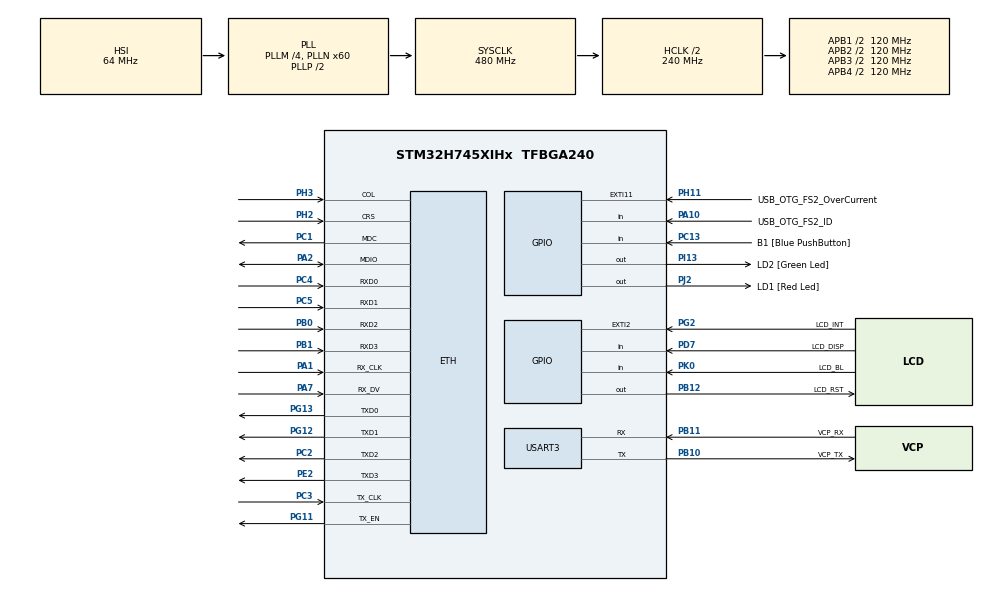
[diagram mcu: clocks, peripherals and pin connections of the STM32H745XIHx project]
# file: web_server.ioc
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CortexM4.IPs=FATFS_M4\:I,FREERTOS_M4\:I,IWDG2\:I,RCC,USB_DEVICE_M4\:I,USB_HOST_M4\:I,WWDG2\:I,DMA,BDMA,MDMA,NVIC2\:I,DEBUG,PDM2PCM_M4\:I,PWR,RESMGR_UTILITY,SYS_M4\:I,CORTEX_M4\:I,OPENAMP_M4\:I,VREFBUF,GPIO
CortexM7.IPs=FATFS_M7\:I,FREERTOS_M7\:I,IWDG1\:I,RCC\:I,USB_DEVICE_M7\:I,USB_HOST_M7\:I,WWDG1\:I,DMA\:I,BDMA\:I,MDMA\:I,NVIC1\:I,CORTEX_M7\:I,DEBUG\:I,PDM2PCM_M7\:I,PWR\:I,RESMGR_UTILITY\:I,SYS\:I,OPENAMP_M7\:I,VREFBUF\:I,GPIO\:I,USART3\:I,ETH\:I,RNG\:I,TIM6\:I
CortexM7.Pins=PJ2
ETH.MediaInterface=HAL_ETH_MII_MODE
FREERTOS_M7.Tasks01=defaultTask,0,256,StartDefaultTask,Default,NULL,Dynamic,NULL,NULL;Blinker,-2,128,StartTask02,Default,NULL,Dynamic,NULL,NULL
FREERTOS_M7.configTOTAL_HEAP_SIZE=65536
FREERTOS_M7.configUSE_NEWLIB_REENTRANT=1
Mcu.Family=STM32H7
Mcu.Name=STM32H745XIHx
Mcu.Package=TFBGA240
NVIC1.ETH_IRQn=true\:5\:0\:false\:false\:false\:true\:true\:true\:true
NVIC1.PriorityGroup=NVIC_PRIORITYGROUP_4
NVIC1.TIM6_DAC_IRQn=true\:15\:0\:false\:false\:true\:false\:false\:true\:true
NVIC1.TimeBase=TIM6_DAC_IRQn
NVIC1.TimeBaseIP=TIM6
NVIC2.PriorityGroup=NVIC_PRIORITYGROUP_4
PA1.GPIO_Mode=GPIO_MODE_AF_PP
PA1.GPIO_PuPd=GPIO_NOPULL
PA1.GPIO_Speed=GPIO_SPEED_FREQ_VERY_HIGH
PA1.Mode=MII
PA1.PinAttribute=CortexM7
PA1.Signal=ETH_RX_CLK
PA10.GPIO_Label=USB_OTG_FS2_ID
PA10.PinAttribute=Free
PA10.Signal=GPIO_Input
PA11.GPIO_Label=USB_OTG_FS2_N
PA11.PinAttribute=CortexM4
PA11.Signal=USB_OTG_FS_DM
PA12.GPIO_Label=USB_OTG_FS2_P
PA12.PinAttribute=CortexM4
PA12.Signal=USB_OTG_FS_DP
PA2.GPIO_Mode=GPIO_MODE_AF_PP
PA2.GPIO_PuPd=GPIO_NOPULL
PA2.GPIO_Speed=GPIO_SPEED_FREQ_VERY_HIGH
PA2.Mode=MII
PA2.PinAttribute=CortexM7
PA2.Signal=ETH_MDIO
PA7.GPIO_Mode=GPIO_MODE_AF_PP
PA7.GPIO_PuPd=GPIO_NOPULL
PA7.GPIO_Speed=GPIO_SPEED_FREQ_VERY_HIGH
PA7.Mode=MII
PA7.PinAttribute=CortexM7
PA7.Signal=ETH_RX_DV
PA9.GPIO_Label=VBUS_FS2
PA9.PinAttribute=CortexM4
PA9.Signal=USB_OTG_FS_VBUS
PB0.GPIO_Mode=GPIO_MODE_AF_PP
PB0.GPIO_PuPd=GPIO_NOPULL
PB0.GPIO_Speed=GPIO_SPEED_FREQ_VERY_HIGH
PB0.Mode=MII
PB0.PinAttribute=CortexM7
PB0.Signal=ETH_RXD2
PB1.GPIO_Mode=GPIO_MODE_AF_PP
PB1.GPIO_PuPd=GPIO_NOPULL
PB1.GPIO_Speed=GPIO_SPEED_FREQ_VERY_HIGH
PB1.Mode=MII
PB1.PinAttribute=CortexM7
PB1.Signal=ETH_RXD3
PB10.GPIO_Label=VCP_TX
PB10.Mode=Asynchronous
PB10.PinAttribute=CortexM7
PB10.Signal=USART3_TX
PB11.GPIO_Label=VCP_RX
PB11.Mode=Asynchronous
PB11.PinAttribute=CortexM7
PB11.Signal=USART3_RX
PB12.GPIO_Label=LCD_RST
PB12.PinAttribute=Free
PB12.Signal=GPIO_Output
PB13.GPIO_Label=FDCAN2_TX
PB13.PinAttribute=CortexM4
PB13.Signal=FDCAN2_TX
PB5.GPIO_Label=FDCAN2_RX
PB5.PinAttribute=CortexM4
PB5.Signal=FDCAN2_RX
PB6.PinAttribute=CortexM4
PB6.Signal=QUADSPI_BK1_NCS
PB8.GPIO_Label=SDIO1_D4
PB8.PinAttribute=CortexM4
PB8.Signal=SDMMC1_D4
PB9.GPIO_Label=SDIO1_D5
PB9.PinAttribute=CortexM4
PB9.Signal=SDMMC1_D5
PC1.GPIO_Mode=GPIO_MODE_AF_PP
PC1.GPIO_PuPd=GPIO_NOPULL
PC1.GPIO_Speed=GPIO_SPEED_FREQ_VERY_HIGH
PC1.Mode=MII
PC1.PinAttribute=CortexM7
PC1.Signal=ETH_MDC
PC10.GPIO_Label=SDIO1_D2
PC10.PinAttribute=CortexM4
PC10.Signal=SDMMC1_D2
PC11.GPIO_Label=SDIO1_D3
PC11.PinAttribute=CortexM4
PC11.Signal=SDMMC1_D3
PC12.GPIO_Label=SDIO1_CK
PC12.PinAttribute=CortexM4
PC12.Signal=SDMMC1_CK
PC13.GPIO_Label=B1 [Blue PushButton]
PC13.PinAttribute=Free
PC13.Signal=GPIO_Input
PC14-OSC32_IN\ (OSC32_IN).GPIO_Label=OSC32_IN
PC14-OSC32_IN\ (OSC32_IN).Mode=LSE-External-Clock-Source
PC14-OSC32_IN\ (OSC32_IN).PinAttribute=CortexM7
PC14-OSC32_IN\ (OSC32_IN).Signal=RCC_OSC32_IN
PC15-OSC32_OUT\ (OSC32_OUT).GPIO_Label=OSC32_OUT
PC15-OSC32_OUT\ (OSC32_OUT).PinAttribute=CortexM7
PC15-OSC32_OUT\ (OSC32_OUT).Signal=RCC_OSC32_OUT
PC2.GPIO_Mode=GPIO_MODE_AF_PP
PC2.GPIO_PuPd=GPIO_NOPULL
PC2.GPIO_Speed=GPIO_SPEED_FREQ_VERY_HIGH
PC2.Mode=MII
PC2.PinAttribute=CortexM7
PC2.Signal=ETH_TXD2
PC3.GPIO_Mode=GPIO_MODE_AF_PP
PC3.GPIO_PuPd=GPIO_NOPULL
PC3.GPIO_Speed=GPIO_SPEED_FREQ_VERY_HIGH
PC3.Mode=MII
PC3.PinAttribute=CortexM7
PC3.Signal=ETH_TX_CLK
PC4.GPIO_Mode=GPIO_MODE_AF_PP
PC4.GPIO_PuPd=GPIO_NOPULL
PC4.GPIO_Speed=GPIO_SPEED_FREQ_VERY_HIGH
PC4.Mode=MII
PC4.PinAttribute=CortexM7
PC4.Signal=ETH_RXD0
PC5.GPIO_Mode=GPIO_MODE_AF_PP
PC5.GPIO_PuPd=GPIO_NOPULL
PC5.GPIO_Speed=GPIO_SPEED_FREQ_VERY_HIGH
PC5.Mode=MII
PC5.PinAttribute=CortexM7
PC5.Signal=ETH_RXD1
PC6.GPIO_Label=SDIO1_D6
PC6.PinAttribute=CortexM4
PC6.Signal=SDMMC1_D6
PC7.GPIO_Label=SDIO1_D7
PC7.PinAttribute=CortexM4
PC7.Signal=SDMMC1_D7
PC8.GPIO_Label=SDIO1_D0
PC8.PinAttribute=CortexM4
PC8.Signal=SDMMC1_D0
PC9.GPIO_Label=SDIO1_D1
PC9.PinAttribute=CortexM4
PC9.Signal=SDMMC1_D1
PD0.PinAttribute=CortexM4
PD0.Signal=FMC_D2_DA2
PD1.PinAttribute=CortexM4
PD1.Signal=FMC_D3_DA3
PD10.PinAttribute=CortexM4
PD10.Signal=FMC_D15_DA15
PD11.PinAttribute=CortexM4
PD11.Signal=QUADSPI_BK1_IO0
PD14.PinAttribute=CortexM4
PD14.Signal=FMC_D0_DA0
PD15.PinAttribute=CortexM4
PD15.Signal=FMC_D1_DA1
PD2.GPIO_Label=SDIO1_CMD
PD2.PinAttribute=CortexM4
PD2.Signal=SDMMC1_CMD
PD7.GPIO_Label=LCD_DISP
PD7.PinAttribute=Free
PD7.Signal=GPIO_Input
PD8.PinAttribute=CortexM4
PD8.Signal=FMC_D13_DA13
PD9.PinAttribute=CortexM4
PD9.Signal=FMC_D14_DA14
PE0.PinAttribute=CortexM4
PE0.Signal=FMC_NBL0
PE1.PinAttribute=CortexM4
PE1.Signal=FMC_NBL1
PE10.PinAttribute=CortexM4
PE10.Signal=FMC_D7_DA7
PE11.PinAttribute=CortexM4
PE11.Signal=FMC_D8_DA8
PE12.PinAttribute=CortexM4
PE12.Signal=FMC_D9_DA9
PE13.PinAttribute=CortexM4
PE13.Signal=FMC_D10_DA10
PE14.PinAttribute=CortexM4
PE14.Signal=FMC_D11_DA11
PE15.PinAttribute=CortexM4
PE15.Signal=FMC_D12_DA12
PE2.GPIO_Mode=GPIO_MODE_AF_PP
PE2.GPIO_PuPd=GPIO_NOPULL
PE2.GPIO_Speed=GPIO_SPEED_FREQ_VERY_HIGH
PE2.Mode=MII
PE2.PinAttribute=CortexM7
PE2.Signal=ETH_TXD3
PE4.PinAttribute=CortexM4
PE4.Signal=SAI4_D2
PE5.PinAttribute=CortexM4
PE5.Signal=SAI4_CK2
PE7.PinAttribute=CortexM4
PE7.Signal=FMC_D4_DA4
PE8.PinAttribute=CortexM4
PE8.Signal=FMC_D5_DA5
PE9.PinAttribute=CortexM4
PE9.Signal=FMC_D6_DA6
PF0.PinAttribute=CortexM4
PF0.Signal=FMC_A0
PF1.PinAttribute=CortexM4
PF1.Signal=FMC_A1
PF10.PinAttribute=CortexM4
PF10.Signal=QUADSPI_CLK
PF11.PinAttribute=CortexM4
PF11.Signal=FMC_SDNRAS
PF12.PinAttribute=CortexM4
PF12.Signal=FMC_A6
PF13.PinAttribute=CortexM4
PF13.Signal=FMC_A7
PF14.PinAttribute=CortexM4
PF14.Signal=FMC_A8
PF15.PinAttribute=CortexM4
PF15.Signal=FMC_A9
PF2.PinAttribute=CortexM4
PF2.Signal=FMC_A2
PF3.PinAttribute=CortexM4
PF3.Signal=FMC_A3
PF4.PinAttribute=CortexM4
PF4.Signal=FMC_A4
PF5.PinAttribute=CortexM4
PF5.Signal=FMC_A5
PF6.PinAttribute=CortexM4
PF6.Signal=QUADSPI_BK1_IO3
PF7.PinAttribute=CortexM4
PF7.Signal=QUADSPI_BK1_IO2
PF9.PinAttribute=CortexM4
PF9.Signal=QUADSPI_BK1_IO1
PG0.PinAttribute=CortexM4
PG0.Signal=FMC_A10
PG1.PinAttribute=CortexM4
PG1.Signal=FMC_A11
PG10.PinAttribute=CortexM4
PG10.Signal=SAI2_SD_B
PG11.GPIO_Mode=GPIO_MODE_AF_PP
PG11.GPIO_PuPd=GPIO_NOPULL
PG11.GPIO_Speed=GPIO_SPEED_FREQ_VERY_HIGH
PG11.Mode=MII
PG11.PinAttribute=CortexM7
PG11.Signal=ETH_TX_EN
PG12.GPIO_Mode=GPIO_MODE_AF_PP
PG12.GPIO_PuPd=GPIO_NOPULL
PG12.GPIO_Speed=GPIO_SPEED_FREQ_VERY_HIGH
PG12.Mode=MII
PG12.PinAttribute=CortexM7
PG12.Signal=ETH_TXD1
PG13.GPIO_Mode=GPIO_MODE_AF_PP
PG13.GPIO_PuPd=GPIO_NOPULL
PG13.GPIO_Speed=GPIO_SPEED_FREQ_VERY_HIGH
PG13.Mode=MII
PG13.PinAttribute=CortexM7
PG13.Signal=ETH_TXD0
PG15.PinAttribute=CortexM4
PG15.Signal=FMC_SDNCAS
PG2.GPIO_Label=LCD_INT
PG2.PinAttribute=Free
PG2.Signal=GPXTI2
PG4.PinAttribute=CortexM4
PG4.Signal=FMC_A14_BA0
PG5.PinAttribute=CortexM4
PG5.Signal=FMC_A15_BA1
PG8.PinAttribute=CortexM4
PG8.Signal=FMC_SDCLK
PH0-OSC_IN\ (PH0).GPIO_Label=OSC_IN
PH0-OSC_IN\ (PH0).Mode=HSE-External-Clock-Source
PH0-OSC_IN\ (PH0).PinAttribute=CortexM7
PH0-OSC_IN\ (PH0).Signal=RCC_OSC_IN
PH1-OSC_OUT\ (PH1).GPIO_Label=OSC_OUT
PH1-OSC_OUT\ (PH1).PinAttribute=CortexM7
PH1-OSC_OUT\ (PH1).Signal=RCC_OSC_OUT
PH11.GPIO_Label=USB_OTG_FS2_OverCurrent
PH11.PinAttribute=Free
PH11.Signal=GPXTI11
PH13.GPIO_Label=FDCAN1_TX
PH13.PinAttribute=CortexM4
PH13.Signal=FDCAN1_TX
PH14.GPIO_Label=FDCAN2_RX
PH14.PinAttribute=CortexM4
PH14.Signal=FDCAN1_RX
PH2.GPIO_Mode=GPIO_MODE_AF_PP
PH2.GPIO_PuPd=GPIO_NOPULL
PH2.GPIO_Speed=GPIO_SPEED_FREQ_VERY_HIGH
PH2.Mode=MII
PH2.PinAttribute=CortexM7
PH2.Signal=ETH_CRS
PH3.GPIO_Mode=GPIO_MODE_AF_PP
PH3.GPIO_PuPd=GPIO_NOPULL
PH3.GPIO_Speed=GPIO_SPEED_FREQ_VERY_HIGH
PH3.Mode=MII
PH3.PinAttribute=CortexM7
PH3.Signal=ETH_COL
PH5.PinAttribute=CortexM4
PH5.Signal=FMC_SDNWE
PH6.PinAttribute=CortexM4
PH6.Signal=FMC_SDNE1
PH7.PinAttribute=CortexM4
PH7.Signal=FMC_SDCKE1
PH9.PinAttribute=CortexM4
PH9.Signal=LTDC_R3
PI0.PinAttribute=CortexM4
PI0.Signal=LTDC_G5
PI1.PinAttribute=CortexM4
PI1.Signal=LTDC_G6
PI10.GPIO_Label=MII_RX_ER
PI10.PinAttribute=CortexM7
PI10.Signal=ETH_RX_ER
PI12.PinAttribute=CortexM4
PI12.Signal=LTDC_HSYNC
PI13.GPIO_Label=LD2 [Green Led]
PI13.PinAttribute=Free
PI13.Signal=GPIO_Output
PI14.PinAttribute=CortexM4
PI14.Signal=LTDC_CLK
PI15.PinAttribute=CortexM4
PI15.Signal=LTDC_R0
PI4.PinAttribute=CortexM4
PI4.Signal=SAI2_MCLK_A
PI5.PinAttribute=CortexM4
PI5.Signal=SAI2_SCK_A
PI6.PinAttribute=CortexM4
PI6.Signal=SAI2_SD_A
PI7.PinAttribute=CortexM4
PI7.Signal=SAI2_FS_A
PI9.PinAttribute=CortexM4
PI9.Signal=LTDC_VSYNC
PJ0.PinAttribute=CortexM4
PJ0.Signal=LTDC_R1
PJ1.PinAttribute=CortexM4
PJ1.Signal=LTDC_R2
PJ10.PinAttribute=CortexM4
PJ10.Signal=LTDC_G3
PJ11.PinAttribute=CortexM4
PJ11.Signal=LTDC_G4
PJ12.PinAttribute=CortexM4
PJ12.Signal=LTDC_B0
PJ13.PinAttribute=CortexM4
PJ13.Signal=LTDC_B1
PJ14.PinAttribute=CortexM4
PJ14.Signal=LTDC_B2
PJ15.GPIO_Label=LCD_DISP
PJ15.PinAttribute=CortexM4
PJ15.Signal=LTDC_B3
PJ2.GPIO_Label=LD1 [Red Led]
PJ2.PinAttribute=CortexM7
PJ2.Signal=GPIO_Output
PJ3.PinAttribute=CortexM4
PJ3.Signal=LTDC_R4
PJ4.PinAttribute=CortexM4
PJ4.Signal=LTDC_R5
PJ5.PinAttribute=CortexM4
PJ5.Signal=LTDC_R6
PJ6.PinAttribute=CortexM4
PJ6.Signal=LTDC_R7
PJ7.PinAttribute=CortexM4
PJ7.Signal=LTDC_G0
PJ8.PinAttribute=CortexM4
PJ8.Signal=LTDC_G1
PJ9.PinAttribute=CortexM4
PJ9.Signal=LTDC_G2
PK0.GPIO_Label=LCD_BL
PK0.PinAttribute=Free
PK0.Signal=GPIO_Input
PK2.PinAttribute=CortexM4
PK2.Signal=LTDC_G7
PK3.PinAttribute=CortexM4
PK3.Signal=LTDC_B4
PK4.PinAttribute=CortexM4
PK4.Signal=LTDC_B5
PK5.PinAttribute=CortexM4
PK5.Signal=LTDC_B6
PK6.PinAttribute=CortexM4
PK6.Signal=LTDC_B7
PK7.PinAttribute=CortexM4
PK7.Signal=LTDC_DE
ProjectManager.HeapSize=M4-0x200,M7-0x200
ProjectManager.StackSize=M4-0x400,M7-0x400
ProjectManager.TargetToolchain=STM32CubeIDE
RCC.ADCFreq_Value=129000000
RCC.APB1Freq_Value=120000000
RCC.APB2Freq_Value=120000000
RCC.APB3Freq_Value=120000000
RCC.APB4Freq_Value=120000000
RCC.CortexFreq_Value=480000000
RCC.D1PPRE=RCC_APB3_DIV2
RCC.D2PPRE1=RCC_APB1_DIV2
RCC.D2PPRE2=RCC_APB2_DIV2
RCC.D3PPRE=RCC_APB4_DIV2
RCC.DIVM1=4
RCC.DIVN1=60
RCC.DIVN3=192
RCC.DIVQ1=4
RCC.DIVR1=4
RCC.HCLKFreq_Value=240000000
RCC.HPRE=RCC_HCLK_DIV2
RCC.PLL2FRACN=0
RCC.PLL3FRACN=0
RCC.PLLFRACN=0
RCC.PWR_Regulator_Voltage_Scale=PWR_REGULATOR_VOLTAGE_SCALE0
RCC.SYSCLKFreq_VALUE=480000000
RCC.SYSCLKSource=RCC_SYSCLKSOURCE_PLLCLK
RCC.SupplySource=PWR_LDO_SUPPLY
RCC.USBFreq_Value=240000000
SH.FMC_A0.0=FMC_A0
SH.FMC_A1.0=FMC_A1
SH.FMC_A10.0=FMC_A10
SH.FMC_A11.0=FMC_A11
SH.FMC_A14_BA0.0=FMC_BA0
SH.FMC_A15_BA1.0=FMC_BA1
SH.FMC_A2.0=FMC_A2
SH.FMC_A3.0=FMC_A3
SH.FMC_A4.0=FMC_A4
SH.FMC_A5.0=FMC_A5
SH.FMC_A6.0=FMC_A6
SH.FMC_A7.0=FMC_A7
SH.FMC_A8.0=FMC_A8
SH.FMC_A9.0=FMC_A9
SH.FMC_D0_DA0.0=FMC_D0
SH.FMC_D10_DA10.0=FMC_D10
SH.FMC_D11_DA11.0=FMC_D11
SH.FMC_D12_DA12.0=FMC_D12
SH.FMC_D13_DA13.0=FMC_D13
SH.FMC_D14_DA14.0=FMC_D14
SH.FMC_D15_DA15.0=FMC_D15
SH.FMC_D1_DA1.0=FMC_D1
SH.FMC_D2_DA2.0=FMC_D2
SH.FMC_D3_DA3.0=FMC_D3
SH.FMC_D4_DA4.0=FMC_D4
SH.FMC_D5_DA5.0=FMC_D5
SH.FMC_D6_DA6.0=FMC_D6
SH.FMC_D7_DA7.0=FMC_D7
SH.FMC_D8_DA8.0=FMC_D8
SH.FMC_D9_DA9.0=FMC_D9
SH.FMC_NBL0.0=FMC_NBL0
SH.FMC_NBL1.0=FMC_NBL1
SH.FMC_SDCLK.0=FMC_SDCLK
SH.FMC_SDNCAS.0=FMC_SDNCAS
SH.FMC_SDNRAS.0=FMC_SDNRAS
SH.FMC_SDNWE.0=FMC_SDNWE
USART3.VirtualMode-Asynchronous=VM_ASYNC
VP_FREERTOS_M7_VS_CMSIS_V1.Mode=CMSIS_V1
VP_RNG_VS_RNG.Mode=RNG_Activate
VP_SYS_M4_VS_Systick.Mode=SysTick
VP_SYS_VS_tim6.Mode=TIM6
board=STM32H745I-DISCO

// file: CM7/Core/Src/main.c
/* USER CODE BEGIN Header */
/**
 ******************************************************************************
 * @file           : main.c
 * @brief          : Main program body
 ******************************************************************************
 * @attention
 *
 * Copyright (c) 2024 STMicroelectronics.
 * All rights reserved.
 *
 * This software is licensed under terms that can be found in the LICENSE file
 * in the root directory of this software component.
 * If no LICENSE file comes with this software, it is provided AS-IS.
 *
 ******************************************************************************
 */
/* USER CODE END Header */
#include "main.h"
#include "string.h"
#include "cmsis_os.h"

/* USER CODE BEGIN Includes */
uint64_t mg_millis(void) {
	return HAL_GetTick();
}

#include "mongoose.h"
/* USER CODE END Includes */

/* USER CODE BEGIN PD */

#ifndef HSEM_ID_0
#define HSEM_ID_0 (0U) /* HW semaphore 0*/
#endif

/* USER CODE END PD */

#if defined ( __ICCARM__ ) /*!< IAR Compiler */
#pragma location=0x30000000
ETH_DMADescTypeDef  DMARxDscrTab[ETH_RX_DESC_CNT]; /* Ethernet Rx DMA Descriptors */
#pragma location=0x30000200
ETH_DMADescTypeDef  DMATxDscrTab[ETH_TX_DESC_CNT]; /* Ethernet Tx DMA Descriptors */

#elif defined ( __CC_ARM )  /* MDK ARM Compiler */

__attribute__((at(0x30000000))) ETH_DMADescTypeDef  DMARxDscrTab[ETH_RX_DESC_CNT]; /* Ethernet Rx DMA Descriptors */
__attribute__((at(0x30000200))) ETH_DMADescTypeDef  DMATxDscrTab[ETH_TX_DESC_CNT]; /* Ethernet Tx DMA Descriptors */

#elif defined ( __GNUC__ ) /* GNU Compiler */

ETH_DMADescTypeDef DMARxDscrTab[ETH_RX_DESC_CNT] __attribute__((section(".RxDecripSection"))); /* Ethernet Rx DMA Descriptors */
ETH_DMADescTypeDef DMATxDscrTab[ETH_TX_DESC_CNT] __attribute__((section(".TxDecripSection")));   /* Ethernet Tx DMA Descriptors */
#endif

ETH_TxPacketConfig TxConfig;

ETH_HandleTypeDef heth;

RNG_HandleTypeDef hrng;

UART_HandleTypeDef huart3;

osThreadId defaultTaskHandle;
osThreadId BlinkerHandle;

void SystemClock_Config(void);
static void MX_GPIO_Init(void);
static void MX_USART3_UART_Init(void);
static void MX_ETH_Init(void);
static void MX_RNG_Init(void);
void StartDefaultTask(void const * argument);
void StartTask02(void const * argument);

/* USER CODE BEGIN 0 */

// Connection event handler function
static void fn(struct mg_connection *c, int ev, void *ev_data) {
  if (ev == MG_EV_HTTP_MSG) {  // New HTTP request received
    struct mg_http_message *hm = (struct mg_http_message *) ev_data;  // Parsed HTTP request
    if (mg_match(hm->uri, mg_str("/api/hello"), NULL)) {              // REST API call?
      mg_http_reply(c, 200, "", "{%m:%d}\n", MG_ESC("status"), 1);    // Yes. Respond JSON
    } else {
      struct mg_http_serve_opts opts = {.root_dir = "."};  // For all other URLs,
      mg_http_serve_dir(c, hm, &opts);                     // Serve static files
    }
  }
}

static void run_mongoose(void) {
	struct mg_mgr mgr;  // Mongoose event manager. Holds all connections
	mg_mgr_init(&mgr);  // Initialise event manager
	mg_log_set(MG_LL_VERBOSE);

	int8_t mac_addr[6] = { 2, 3, 4, 5, 6, 7 };

	struct mg_tcpip_driver_stm32h_data driver_data = { .mdc_cr = 4 };
	struct mg_tcpip_if mif;
	memcpy(mif.mac, mac_addr, sizeof(mif.mac)); // Copy MAC address into the structure
	mif.ip = mg_htonl(MG_U32(192, 168, 1, 2));
	mif.mask = mg_htonl(MG_U32(255, 255, 255, 0));
	mif.gw = mg_htonl(MG_U32(192, 168, 1, 1));
	mif.driver = &mg_tcpip_driver_stm32h;
	mif.driver_data = &driver_data;

	mg_tcpip_init(&mgr, &mif);

	mg_http_listen(&mgr, "http://0.0.0.0:80", fn, NULL);  // Setup listener
	for (;;) {
		mg_mgr_poll(&mgr, 1000);  // Infinite event loop
	}
}

/* USER CODE END 0 */

int main(void)
{

/* USER CODE BEGIN Boot_Mode_Sequence_0 */
	int32_t timeout;
/* USER CODE END Boot_Mode_Sequence_0 */

/* USER CODE BEGIN Boot_Mode_Sequence_1 */
	/* Wait until CPU2 boots and enters in stop mode or timeout*/
	timeout = 0xFFFF;
	while ((__HAL_RCC_GET_FLAG(RCC_FLAG_D2CKRDY) != RESET))
		; // removed timeout error

/* USER CODE END Boot_Mode_Sequence_1 */
  /* MCU Configuration--------------------------------------------------------*/

  /* Reset of all peripherals, Initializes the Flash interface and the Systick. */
  HAL_Init();

  /* Configure the system clock */
  SystemClock_Config();
/* USER CODE BEGIN Boot_Mode_Sequence_2 */
	/* When system initialization is finished, Cortex-M7 will release Cortex-M4 by means of
	 HSEM notification */
	/*HW semaphore Clock enable*/
	__HAL_RCC_HSEM_CLK_ENABLE();
	/*Take HSEM */
	HAL_HSEM_FastTake(HSEM_ID_0);
	/*Release HSEM in order to notify the CPU2(CM4)*/
	HAL_HSEM_Release(HSEM_ID_0, 0);
	/* wait until CPU2 wakes up from stop mode */
	timeout = 0xFFFF;
	while ((__HAL_RCC_GET_FLAG(RCC_FLAG_D2CKRDY) == RESET) && (timeout-- > 0))
		;
	if (timeout < 0) {
		Error_Handler();
	}
/* USER CODE END Boot_Mode_Sequence_2 */

  /* Initialize all configured peripherals */
  MX_GPIO_Init();
  MX_USART3_UART_Init();
  MX_ETH_Init();
  MX_RNG_Init();
  /* USER CODE BEGIN 2 */

  NVIC_EnableIRQ(ETH_IRQn);

  run_mongoose();

  while(1) {
	  printf("Tick: %lu\r\n", HAL_GetTick());
	  HAL_Delay(500);
  }

  /* USER CODE END 2 */

  /* Create the thread(s) */
  /* definition and creation of defaultTask */
  osThreadDef(defaultTask, StartDefaultTask, osPriorityNormal, 0, 256);
  defaultTaskHandle = osThreadCreate(osThread(defaultTask), NULL);

  /* definition and creation of Blinker */
  osThreadDef(Blinker, StartTask02, osPriorityLow, 0, 128);
  BlinkerHandle = osThreadCreate(osThread(Blinker), NULL);

  /* Start scheduler */
  osKernelStart();

  /* We should never get here as control is now taken by the scheduler */

  /* Infinite loop */
	while (1) {

    /* USER CODE BEGIN 3 */

		HAL_GPIO_TogglePin(LD1_GPIO_Port, LD1_Pin);
		HAL_Delay(500);

		/* Send message over USART3 */
		printf("Hello USART3!\r\n");
	}
  /* USER CODE END 3 */
}

void SystemClock_Config(void)
{
  RCC_OscInitTypeDef RCC_OscInitStruct = {0};
  RCC_ClkInitTypeDef RCC_ClkInitStruct = {0};

  /** Supply configuration update enable
  */
  HAL_PWREx_ConfigSupply(PWR_LDO_SUPPLY);

  /** Configure the main internal regulator output voltage
  */
  __HAL_PWR_VOLTAGESCALING_CONFIG(PWR_REGULATOR_VOLTAGE_SCALE1);

  while(!__HAL_PWR_GET_FLAG(PWR_FLAG_VOSRDY)) {}

  __HAL_RCC_SYSCFG_CLK_ENABLE();
  __HAL_PWR_VOLTAGESCALING_CONFIG(PWR_REGULATOR_VOLTAGE_SCALE0);

  while(!__HAL_PWR_GET_FLAG(PWR_FLAG_VOSRDY)) {}

  /** Initializes the RCC Oscillators according to the specified parameters
  * in the RCC_OscInitTypeDef structure.
  */
  RCC_OscInitStruct.OscillatorType = RCC_OSCILLATORTYPE_HSI48|RCC_OSCILLATORTYPE_HSI;
  RCC_OscInitStruct.HSIState = RCC_HSI_DIV1;
  RCC_OscInitStruct.HSICalibrationValue = RCC_HSICALIBRATION_DEFAULT;
  RCC_OscInitStruct.HSI48State = RCC_HSI48_ON;
  RCC_OscInitStruct.PLL.PLLState = RCC_PLL_ON;
  RCC_OscInitStruct.PLL.PLLSource = RCC_PLLSOURCE_HSI;
  RCC_OscInitStruct.PLL.PLLM = 4;
  RCC_OscInitStruct.PLL.PLLN = 60;
  RCC_OscInitStruct.PLL.PLLP = 2;
  RCC_OscInitStruct.PLL.PLLQ = 4;
  RCC_OscInitStruct.PLL.PLLR = 4;
  RCC_OscInitStruct.PLL.PLLRGE = RCC_PLL1VCIRANGE_3;
  RCC_OscInitStruct.PLL.PLLVCOSEL = RCC_PLL1VCOWIDE;
  RCC_OscInitStruct.PLL.PLLFRACN = 0;
  if (HAL_RCC_OscConfig(&RCC_OscInitStruct) != HAL_OK)
  {
    Error_Handler();
  }

  /** Initializes the CPU, AHB and APB buses clocks
  */
  RCC_ClkInitStruct.ClockType = RCC_CLOCKTYPE_HCLK|RCC_CLOCKTYPE_SYSCLK
                              |RCC_CLOCKTYPE_PCLK1|RCC_CLOCKTYPE_PCLK2
                              |RCC_CLOCKTYPE_D3PCLK1|RCC_CLOCKTYPE_D1PCLK1;
  RCC_ClkInitStruct.SYSCLKSource = RCC_SYSCLKSOURCE_PLLCLK;
  RCC_ClkInitStruct.SYSCLKDivider = RCC_SYSCLK_DIV1;
  RCC_ClkInitStruct.AHBCLKDivider = RCC_HCLK_DIV2;
  RCC_ClkInitStruct.APB3CLKDivider = RCC_APB3_DIV2;
  RCC_ClkInitStruct.APB1CLKDivider = RCC_APB1_DIV2;
  RCC_ClkInitStruct.APB2CLKDivider = RCC_APB2_DIV2;
  RCC_ClkInitStruct.APB4CLKDivider = RCC_APB4_DIV2;

  if (HAL_RCC_ClockConfig(&RCC_ClkInitStruct, FLASH_LATENCY_4) != HAL_OK)
  {
    Error_Handler();
  }
}

static void MX_ETH_Init(void)
{

   static uint8_t MACAddr[6];

  heth.Instance = ETH;
  MACAddr[0] = 0x00;
  MACAddr[1] = 0x80;
  MACAddr[2] = 0xE1;
  MACAddr[3] = 0x00;
  MACAddr[4] = 0x00;
  MACAddr[5] = 0x00;
  heth.Init.MACAddr = &MACAddr[0];
  heth.Init.MediaInterface = HAL_ETH_MII_MODE;
  heth.Init.TxDesc = DMATxDscrTab;
  heth.Init.RxDesc = DMARxDscrTab;
  heth.Init.RxBuffLen = 1524;

  if (HAL_ETH_Init(&heth) != HAL_OK)
  {
    Error_Handler();
  }

  memset(&TxConfig, 0 , sizeof(ETH_TxPacketConfig));
  TxConfig.Attributes = ETH_TX_PACKETS_FEATURES_CSUM | ETH_TX_PACKETS_FEATURES_CRCPAD;
  TxConfig.ChecksumCtrl = ETH_CHECKSUM_IPHDR_PAYLOAD_INSERT_PHDR_CALC;
  TxConfig.CRCPadCtrl = ETH_CRC_PAD_INSERT;

}

static void MX_RNG_Init(void)
{

  hrng.Instance = RNG;
  hrng.Init.ClockErrorDetection = RNG_CED_ENABLE;
  if (HAL_RNG_Init(&hrng) != HAL_OK)
  {
    Error_Handler();
  }

}

static void MX_USART3_UART_Init(void)
{

  huart3.Instance = USART3;
  huart3.Init.BaudRate = 115200;
  huart3.Init.WordLength = UART_WORDLENGTH_8B;
  huart3.Init.StopBits = UART_STOPBITS_1;
  huart3.Init.Parity = UART_PARITY_NONE;
  huart3.Init.Mode = UART_MODE_TX_RX;
  huart3.Init.HwFlowCtl = UART_HWCONTROL_NONE;
  huart3.Init.OverSampling = UART_OVERSAMPLING_16;
  huart3.Init.OneBitSampling = UART_ONE_BIT_SAMPLE_DISABLE;
  huart3.Init.ClockPrescaler = UART_PRESCALER_DIV1;
  huart3.AdvancedInit.AdvFeatureInit = UART_ADVFEATURE_NO_INIT;
  if (HAL_UART_Init(&huart3) != HAL_OK)
  {
    Error_Handler();
  }
  if (HAL_UARTEx_SetTxFifoThreshold(&huart3, UART_TXFIFO_THRESHOLD_1_8) != HAL_OK)
  {
    Error_Handler();
  }
  if (HAL_UARTEx_SetRxFifoThreshold(&huart3, UART_RXFIFO_THRESHOLD_1_8) != HAL_OK)
  {
    Error_Handler();
  }
  if (HAL_UARTEx_DisableFifoMode(&huart3) != HAL_OK)
  {
    Error_Handler();
  }

}

static void MX_GPIO_Init(void)
{
  GPIO_InitTypeDef GPIO_InitStruct = {0};

  /* GPIO Ports Clock Enable */
  __HAL_RCC_GPIOG_CLK_ENABLE();
  __HAL_RCC_GPIOC_CLK_ENABLE();
  __HAL_RCC_GPIOE_CLK_ENABLE();
  __HAL_RCC_GPIOI_CLK_ENABLE();
  __HAL_RCC_GPIOH_CLK_ENABLE();
  __HAL_RCC_GPIOA_CLK_ENABLE();
  __HAL_RCC_GPIOB_CLK_ENABLE();
  __HAL_RCC_GPIOJ_CLK_ENABLE();

  /*Configure GPIO pin Output Level */
  HAL_GPIO_WritePin(LD1_GPIO_Port, LD1_Pin, GPIO_PIN_RESET);

  /*Configure GPIO pin : LD1_Pin */
  GPIO_InitStruct.Pin = LD1_Pin;
  GPIO_InitStruct.Mode = GPIO_MODE_OUTPUT_PP;
  GPIO_InitStruct.Pull = GPIO_NOPULL;
  GPIO_InitStruct.Speed = GPIO_SPEED_FREQ_LOW;
  HAL_GPIO_Init(LD1_GPIO_Port, &GPIO_InitStruct);

}

void StartDefaultTask(void const * argument)
{
  for(;;)
  {
    osDelay(1);
  }
}

void StartTask02(void const * argument)
{
  for(;;)
  {
    osDelay(1);
  }
}

void HAL_TIM_PeriodElapsedCallback(TIM_HandleTypeDef *htim)
{
  if (htim->Instance == TIM6) {
    HAL_IncTick();
  }
}

void Error_Handler(void)
{
	__disable_irq();
	while (1) {
	}
}
